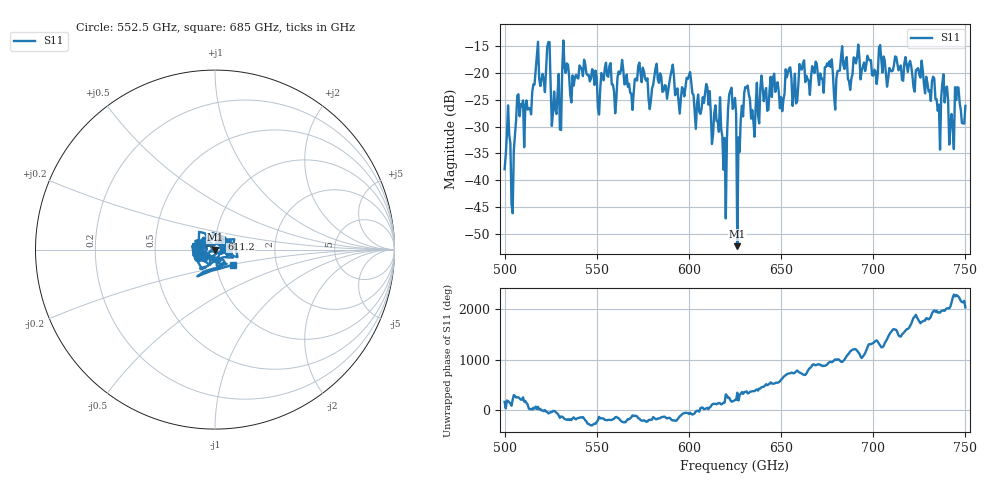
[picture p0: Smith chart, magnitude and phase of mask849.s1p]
!Created with skrf (http://scikit-rf.org).
# GHz S MA R 50.0
!freq magS11 angS11
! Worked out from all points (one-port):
!   401 points, 500 GHz to 750 GHz, reference 50 ohm
!   lowest |S11| = -52.3 dB at 626.2 GHz (marker M1), VSWR 1.00, Z = 50.2 - j0.0548 ohm
!   |S11| at or under -10 dB: start of sweep to end of sweep
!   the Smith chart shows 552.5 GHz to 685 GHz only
!   S11 on the Smith chart (normalised r, x): 552.5 GHz: 0.83, -0.07; 611.2 GHz: 1.07, +0.12; 685 GHz: 1.20, -0.21
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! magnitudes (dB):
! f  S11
! 500 GHz  -37.9
! 501.9 GHz  -26.0
! 504.4 GHz  -46.2
! 507.5 GHz  -23.9
! 511.9 GHz  -25.1
! 516.9 GHz  -19.3
! 523.8 GHz  -14.2
! 526.9 GHz  -23.4
! 531.2 GHz  -19.4
! 552.5 GHz  -20.0
! 562.5 GHz  -20.2
! 593.8 GHz  -22.8
! 611.2 GHz  -23.3
! 619.4 GHz  -32.1
! 622.5 GHz  -23.3
! 625 GHz  -24.6
! 626.2 GHz  -52.3
! 631.2 GHz  -22.8
! 635 GHz  -29.0
! 656.2 GHz  -26.1
! 685 GHz  -17.6
! 687.5 GHz  -23.1
! 718.8 GHz  -19.8
! 735 GHz  -27.0
! 738.8 GHz  -25.5
! 742.5 GHz  -27.6
! 745.6 GHz  -22.6
! 750 GHz  -26.1
